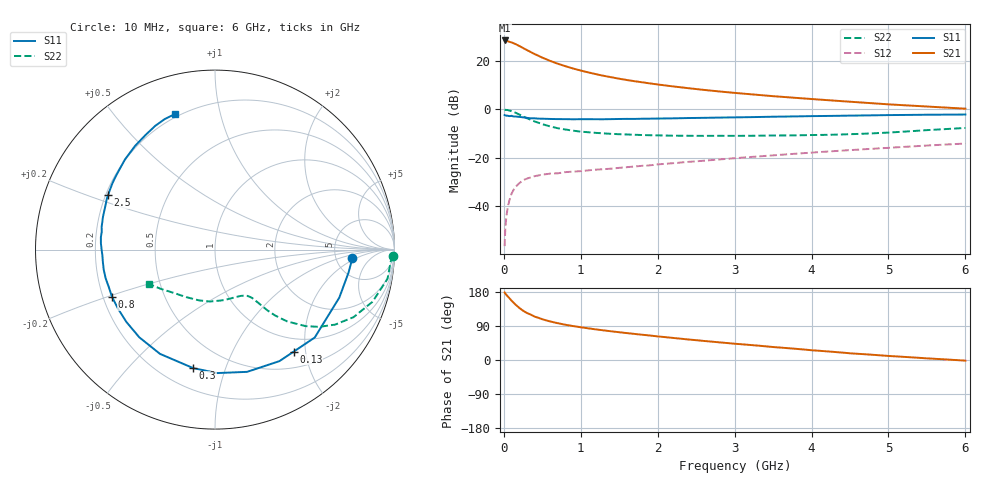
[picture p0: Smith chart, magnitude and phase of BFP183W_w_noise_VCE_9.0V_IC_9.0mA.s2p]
! Infineon Technologies  Discrete & RF Semiconductors
! BFP183W
! VCE =  9.0 V,  IC =  9.0 mA
! Common Emitter S-Parameters:  Jan 2017
# GHz  S  MA  R  50
!  f  S11  S21  S12  S22
! GHz  MAG  ANG  MAG  ANG  MAG  ANG  MAG  ANG
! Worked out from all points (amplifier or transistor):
!   77 points, 10 MHz to 6 GHz, reference 50 ohm
!   highest |S21| = 28.5 dB at 10 MHz (marker M1)
!   |S21| within 3 dB of that: start of sweep to 243.3 MHz
!   unconditionally stable (mu >= 1): 1.788 GHz to 3.904 GHz
!   at 130 MHz: K = 0.13, MSG = 30.2 dB, |S12| = -33.0 dB
!   at 2.2 GHz: K = 1.05, MAG = 14.4 dB, |S12| = -22.2 dB
!   at 6 GHz: K = 0.84, MSG = 7.2 dB, |S12| = -14.1 dB
!   lowest NFmin = 0.90 dB at 450 MHz
!   S11 on the Smith chart (normalised r, x): 10 MHz: 7.21, -1.64; 130 MHz: 0.76, -1.78; 300 MHz: 0.32, -0.78; 800 MHz: 0.24, -0.21; 2.5 GHz: 0.21, +0.23; 6 GHz: 0.18, +0.73
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0.01  0.7671 -3.5  26.68 178.1  0.0015 93.3  0.9935 -1.9
0.02  0.7549 -9.8  26.49 174.9  0.0037 85.0  0.9815 -3.8
0.06  0.7347 -25.1  25.41 165.8  0.011 77.4  0.9629 -11.3
0.1  0.7408 -41.4  24.38 156.6  0.0182 70.8  0.9239 -18.4
0.13  0.7177 -52.4  23.19 150.7  0.0223 65.7  0.8829 -22.8
0.15  0.7176 -60.0  22.55 146.5  0.0251 63.2  0.8587 -26.0
0.2  0.7042 -75.3  20.54 137.6  0.0299 56.8  0.7889 -32.0
0.25  0.688 -89.0  18.64 130.1  0.0346 51.0  0.7218 -36.6
0.3  0.6714 -100.4  16.84 124.1  0.0373 47.7  0.6605 -40.2
0.4  0.6568 -117.8  13.99 114.5  0.0419 41.8  0.5659 -44.9
0.5  0.6455 -130.8  11.78 107.5  0.0449 39.0  0.4975 -47.6
0.6  0.6374 -140.7  10.13 101.8  0.0473 37.4  0.4477 -49.2
0.8  0.6313 -155.3  7.846 93.0  0.0508 37.9  0.3857 -50.8
0.9  0.6274 -160.7  7.018 89.5  0.052 37.9  0.3649 -51.5
1.1  0.63 -169.7  5.825 83.5  0.0553 39.1  0.3386 -52.6
1.5  0.6367 176.8  4.322 73.3  0.0623 42.4  0.3084 -56.3
2.1  0.6528 161.3  3.138 60.3  0.0755 46.4  0.2897 -65.3
2.5  0.6687 152.9  2.644 52.3  0.085 48.0  0.2856 -73.3
3.1  0.6907 141.8  2.135 41.4  0.1013 49.2  0.2856 -86.4
4.1  0.7321 126.4  1.603 24.3  0.1317 48.2  0.2977 -110.1
5.1  0.7682 114.7  1.251 9.5  0.165 44.8  0.3408 -136.1
6  0.7877 106.4  1.039 -1.7  0.1978 40.0  0.4159 -152.6
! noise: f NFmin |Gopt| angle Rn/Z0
0.45  0.9  0.11  89  0.11
0.9  0.95  0.18  132  0.1
1.9  1.46  0.37  179  0.07
2.4  1.71  0.44  -170  0.09
